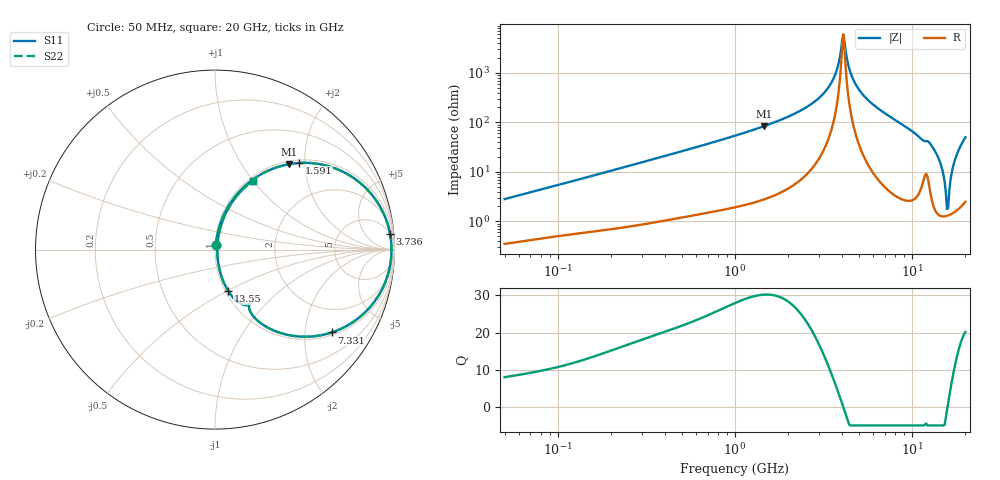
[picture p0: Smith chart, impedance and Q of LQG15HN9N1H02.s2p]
!Murata Part Number: LQG15HN9N1H02
!These Parameters are Measured in Series Mode Connection
!  o--[Z]--o
!Port1  Port2
!  o-------o
!Freq. Start=50[MHz] Stop=20[GHz], 401[Steps]
# Hz S RI R 50
!Freq.(Hz) S11(Real) S11(Imag) S21(Real) S21(Imag) S12(Real) S12(Imag) S22(Real) S22(Imag)
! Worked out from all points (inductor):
!   401 points, 50 MHz to 20 GHz, reference 50 ohm
!   read as one part in series: L = 8.77 nH near 51.52 MHz
!   highest Q = 30.2 at 1.454 GHz (marker M1), where L = 9.12 nH
!   self-resonance near 4.027 GHz
!   S11 on the Smith chart (normalised r, x): 50 MHz: 1.01, +0.06; 1.591 GHz: 1.06, +1.87; 3.736 GHz: 5, +21; 7.331 GHz: 1.08, -2.75; 13.55 GHz: 1.03, -0.50; 20 GHz: 1.05, +1.00
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5e7  0.00425 0.0277  0.9958 -0.0277  0.9958 -0.0277  0.00425 0.0277
1.364002e8  0.0109 0.0714  0.9891 -0.0714  0.9891 -0.0714  0.0109 0.0714
3.721004e8  0.0449 0.1833  0.9551 -0.1833  0.9551 -0.1833  0.0449 0.1833
1e9  0.2318 0.4045  0.7682 -0.4045  0.7682 -0.4045  0.2318 0.4045
1.454215e9  0.413 0.4761  0.587 -0.4761  0.587 -0.4761  0.413 0.4761
1.590961e9  0.4687 0.4827  0.5313 -0.4827  0.5313 -0.4827  0.4687 0.4827
2.728004e9  0.8418 0.3413  0.1582 -0.3413  0.1582 -0.3413  0.8418 0.3413
3.314454e9  0.9413 0.1966  0.0587 -0.1966  0.0587 -0.1966  0.9413 0.1966
3.736399e9  0.9753 0.0876  0.0247 -0.0876  0.0247 -0.0876  0.9753 0.0876
4.087748e9  0.9835 -0.000173  0.0165 0.000173  0.0165 0.000173  0.9835 -0.000173
4.472136e9  0.9754 -0.0897  0.0246 0.0897  0.0246 0.0897  0.9754 -0.0897
4.966507e9  0.9445 -0.192  0.0555 0.192  0.0555 0.192  0.9445 -0.192
5.856089e9  0.8508 -0.3347  0.1492 0.3347  0.1492 0.3347  0.8508 -0.3347
7.331367e9  0.6503 -0.4618  0.3497 0.4618  0.3497 0.4618  0.6503 -0.4618
7.442007e9  0.6348 -0.4665  0.3652 0.4665  0.3652 0.4665  0.6348 -0.4665
9.600142e9  0.3559 -0.4615  0.6441 0.4615  0.6441 0.4615  0.3559 -0.4615
1.354865e10  0.0729 -0.2299  0.9271 0.2299  0.9271 0.2299  0.0729 -0.2299
1.460232e10  0.0292 -0.1271  0.9708 0.1271  0.9708 0.1271  0.0292 -0.1271
1.550395e10  0.0139 -0.0358  0.9861 0.0358  0.9861 0.0358  0.0139 -0.0358
1.597544e10  0.0131 0.0126  0.9869 -0.0126  0.9869 -0.0126  0.0131 0.0126
1.747767e10  0.0441 0.1656  0.9559 -0.1656  0.9559 -0.1656  0.0441 0.1656
2e10  0.2121 0.3848  0.7879 -0.3848  0.7879 -0.3848  0.2121 0.3848
